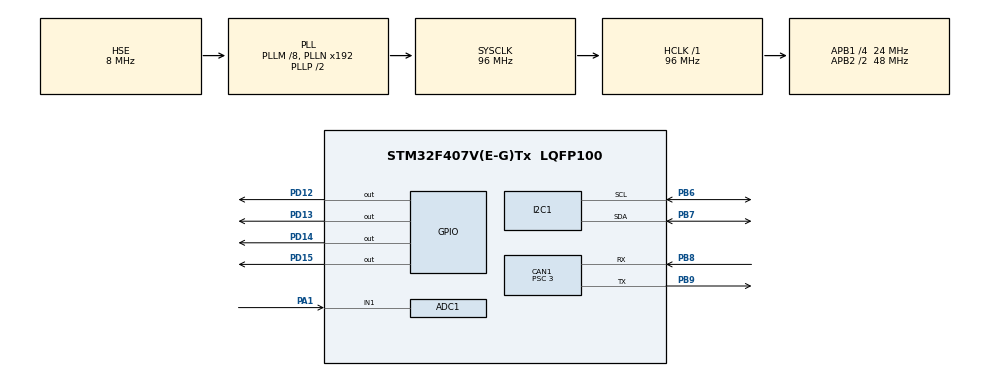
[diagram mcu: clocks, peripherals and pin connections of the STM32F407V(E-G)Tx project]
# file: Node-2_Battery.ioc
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ADC1.Channel-0\#ChannelRegularConversion=ADC_CHANNEL_1
ADC1.NbrOfConversionFlag=1
ADC1.Rank-0\#ChannelRegularConversion=1
ADC1.SamplingTime-0\#ChannelRegularConversion=ADC_SAMPLETIME_3CYCLES
ADC1.master=1
CAN1.BS1=CAN_BS1_13TQ
CAN1.BS2=CAN_BS2_2TQ
CAN1.CalculateBaudRate=500000
CAN1.CalculateTimeBit=2000
CAN1.CalculateTimeQuantum=125.0
CAN1.Prescaler=3
FREERTOS.Mutexes01=batteryDataMutex,Dynamic,NULL,Available
FREERTOS.Queues01=BatterQueue,8,uint16_t,0,Dynamic,NULL,NULL
FREERTOS.Tasks01=defaultTask,-3,128,StartDefaultTask,Default,NULL,Dynamic,NULL,NULL;batteryMonitorT,1,256,StartBatteryMonitorTask,Default,NULL,Dynamic,NULL,NULL;canTask,0,256,StartCANTask,Default,NULL,Dynamic,NULL,NULL
Mcu.Family=STM32F4
Mcu.Name=STM32F407V(E-G)Tx
Mcu.Package=LQFP100
NVIC.I2C1_EV_IRQn=true\:5\:0\:false\:false\:true\:true\:true\:true\:true
NVIC.PriorityGroup=NVIC_PRIORITYGROUP_4
PA1.Signal=ADCx_IN1
PB6.Mode=I2C
PB6.Signal=I2C1_SCL
PB7.Mode=I2C
PB7.Signal=I2C1_SDA
PB8.Mode=CAN_Activate
PB8.Signal=CAN1_RX
PB9.Mode=CAN_Activate
PB9.Signal=CAN1_TX
PD12.Signal=GPIO_Output
PD13.Signal=GPIO_Output
PD14.Signal=GPIO_Output
PD15.Signal=GPIO_Output
PH0-OSC_IN.Mode=HSE-External-Oscillator
PH0-OSC_IN.Signal=RCC_OSC_IN
PH1-OSC_OUT.Mode=HSE-External-Oscillator
PH1-OSC_OUT.Signal=RCC_OSC_OUT
ProjectManager.HeapSize=0x200
ProjectManager.StackSize=0x400
ProjectManager.TargetToolchain=STM32CubeIDE
RCC.48MHZClocksFreq_Value=48000000
RCC.AHBFreq_Value=96000000
RCC.APB1CLKDivider=RCC_HCLK_DIV4
RCC.APB1Freq_Value=24000000
RCC.APB1TimFreq_Value=48000000
RCC.APB2CLKDivider=RCC_HCLK_DIV2
RCC.APB2Freq_Value=48000000
RCC.APB2TimFreq_Value=96000000
RCC.CortexFreq_Value=96000000
RCC.HCLKFreq_Value=96000000
RCC.HSE_VALUE=8000000
RCC.HSI_VALUE=16000000
RCC.LSE_VALUE=32768
RCC.PLLM=8
RCC.PLLSourceVirtual=RCC_PLLSOURCE_HSE
RCC.SYSCLKFreq_VALUE=96000000
RCC.SYSCLKSource=RCC_SYSCLKSOURCE_PLLCLK
RCC.VCOOutputFreq_Value=192000000
SH.ADCx_IN1.0=ADC1_IN1,IN1
VP_FREERTOS_VS_CMSIS_V1.Mode=CMSIS_V1
board=custom

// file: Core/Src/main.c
/* USER CODE BEGIN Header */
/* USER CODE END Header */
#include "main.h"
#include "cmsis_os.h"

/* USER CODE BEGIN Includes */
#include <math.h>
#include <string.h>
#include <stdbool.h>
/* USER CODE END Includes */

/* USER CODE BEGIN PTD */
typedef struct {
  uint16_t soc;
  uint16_t soh;
  uint16_t temperature;
  uint16_t voltage;
  uint16_t current;
} BatteryData_t;
/* USER CODE END PTD */

/* USER CODE BEGIN PD */
/* INA219 Definitions */
#define INA219_ADDRESS  (0x40 << 1)  // 7-bit address shifted left
#define INA219_CONFIG   0x00
#define INA219_SHUNT    0x01
#define INA219_BUS      0x02
#define INA219_POWER    0x03
#define INA219_CURRENT  0x04
#define INA219_CAL      0x05

/* Battery Parameters */
#define BATTERY_CAPACITY_mAh  3000.0f
#define FULL_CHARGE_VOLTAGE   12.6f
#define EMPTY_VOLTAGE        9.0f
#define LM35_MV_PER_C        10.0f    // LM35 outputs 10mV per °C
#define VREF                 3.3f     // Reference voltage

/* CAN Parameters */
#define Battery_QUEUE_SIZE  8
#define CAN_TX_MSG_ID        0x124   // CAN message ID for battery data
/* USER CODE END PD */

ADC_HandleTypeDef hadc1;

CAN_HandleTypeDef hcan1;

I2C_HandleTypeDef hi2c1;

osThreadId defaultTaskHandle;
osThreadId batteryMonitorTHandle;
osThreadId canTaskHandle;
osMessageQId BatterQueueHandle;
osMutexId batteryDataMutexHandle;
/* USER CODE BEGIN PV */
/* Global Variables for Debugging (view in Live Expressions) */
volatile float g_voltage = 0;
volatile float g_current = 0;
volatile float g_temperature = 0;
volatile float g_soc = 100.0f;
volatile float g_soh = 100.0f;
volatile float g_remainingCapacity_mAh = BATTERY_CAPACITY_mAh;
volatile float g_totalDischarged_mAh = 0;

/* CAN Variables */
BatteryData_t batteryData;

/* USER CODE END PV */

void SystemClock_Config(void);
static void MX_GPIO_Init(void);
static void MX_I2C1_Init(void);
static void MX_ADC1_Init(void);
static void MX_CAN1_Init(void);
void StartDefaultTask(void const * argument);
void StartBatteryMonitorTask(void const * argument);
void StartCANTask(void const * argument);

/* USER CODE BEGIN PFP */

/* Private function prototypes */
void INA219_Init(void);
void INA219_WriteReg(uint8_t reg, uint16_t value);
uint16_t INA219_ReadReg(uint8_t reg);
float INA219_ReadBusVoltage(void);
float INA219_ReadCurrent(void);
float Read_LM35_Temperature(void);
float Calculate_SOC(float current_mA, float voltage_V);
float VoltageBased_SOC(float voltage_V); //helper function for SOC (on Charging and Discharging
float Calculate_SOH(void);
void Update_Battery_Parameters(void);

/* USER CODE END PFP */

int main(void)
{

  /* MCU Configuration--------------------------------------------------------*/

  /* Reset of all peripherals, Initializes the Flash interface and the Systick. */
  HAL_Init();

  /* Configure the system clock */
  SystemClock_Config();

  /* Initialize all configured peripherals */
  MX_GPIO_Init();
  MX_I2C1_Init();
  MX_ADC1_Init();
  MX_CAN1_Init();
  /* USER CODE BEGIN 2 */

  // Initialize INA219
  INA219_Init();

  // Calibrate ADC with dummy reads
  for(uint8_t i=0; i<5; i++) {
    HAL_ADC_Start(&hadc1);
    HAL_ADC_PollForConversion(&hadc1, 10);
    HAL_ADC_GetValue(&hadc1);
    HAL_Delay(10);
  }
  // Initialize CAN filter (accept all messages)
  CAN_FilterTypeDef can_filter = {
      .FilterBank = 0,
      .FilterMode = CAN_FILTERMODE_IDMASK,
      .FilterScale = CAN_FILTERSCALE_32BIT,
      .FilterIdHigh = 0x0000,
      .FilterIdLow = 0x0000,
      .FilterMaskIdHigh = 0x0000,
      .FilterMaskIdLow = 0x0000,
      .FilterFIFOAssignment = CAN_RX_FIFO0,
      .FilterActivation = ENABLE,
      .SlaveStartFilterBank = 14
  };
  HAL_CAN_ConfigFilter(&hcan1, &can_filter);

  // Start CAN
  HAL_CAN_Start(&hcan1);

  /* USER CODE END 2 */

  /* Create the mutex(es) */
  /* definition and creation of batteryDataMutex */
  osMutexDef(batteryDataMutex);
  batteryDataMutexHandle = osMutexCreate(osMutex(batteryDataMutex));

  /* Create the queue(s) */
  /* definition and creation of BatterQueue */
  osMessageQDef(BatterQueue, 8, uint16_t);
  BatterQueueHandle = osMessageCreate(osMessageQ(BatterQueue), NULL);

  /* Create the thread(s) */
  /* definition and creation of defaultTask */
  osThreadDef(defaultTask, StartDefaultTask, osPriorityIdle, 0, 128);
  defaultTaskHandle = osThreadCreate(osThread(defaultTask), NULL);

  /* definition and creation of batteryMonitorT */
  osThreadDef(batteryMonitorT, StartBatteryMonitorTask, osPriorityAboveNormal, 0, 256);
  batteryMonitorTHandle = osThreadCreate(osThread(batteryMonitorT), NULL);

  /* definition and creation of canTask */
  osThreadDef(canTask, StartCANTask, osPriorityNormal, 0, 256);
  canTaskHandle = osThreadCreate(osThread(canTask), NULL);

  /* Start scheduler */
  osKernelStart();

  /* We should never get here as control is now taken by the scheduler */

  /* Infinite loop */

}

void SystemClock_Config(void)
{
  RCC_OscInitTypeDef RCC_OscInitStruct = {0};
  RCC_ClkInitTypeDef RCC_ClkInitStruct = {0};

  /** Configure the main internal regulator output voltage
  */
  __HAL_RCC_PWR_CLK_ENABLE();
  __HAL_PWR_VOLTAGESCALING_CONFIG(PWR_REGULATOR_VOLTAGE_SCALE1);

  /** Initializes the RCC Oscillators according to the specified parameters
  * in the RCC_OscInitTypeDef structure.
  */
  RCC_OscInitStruct.OscillatorType = RCC_OSCILLATORTYPE_HSE;
  RCC_OscInitStruct.HSEState = RCC_HSE_ON;
  RCC_OscInitStruct.PLL.PLLState = RCC_PLL_ON;
  RCC_OscInitStruct.PLL.PLLSource = RCC_PLLSOURCE_HSE;
  RCC_OscInitStruct.PLL.PLLM = 8;
  RCC_OscInitStruct.PLL.PLLN = 192;
  RCC_OscInitStruct.PLL.PLLP = RCC_PLLP_DIV2;
  RCC_OscInitStruct.PLL.PLLQ = 4;
  if (HAL_RCC_OscConfig(&RCC_OscInitStruct) != HAL_OK)
  {
    Error_Handler();
  }

  /** Initializes the CPU, AHB and APB buses clocks
  */
  RCC_ClkInitStruct.ClockType = RCC_CLOCKTYPE_HCLK|RCC_CLOCKTYPE_SYSCLK
                              |RCC_CLOCKTYPE_PCLK1|RCC_CLOCKTYPE_PCLK2;
  RCC_ClkInitStruct.SYSCLKSource = RCC_SYSCLKSOURCE_PLLCLK;
  RCC_ClkInitStruct.AHBCLKDivider = RCC_SYSCLK_DIV1;
  RCC_ClkInitStruct.APB1CLKDivider = RCC_HCLK_DIV4;
  RCC_ClkInitStruct.APB2CLKDivider = RCC_HCLK_DIV2;

  if (HAL_RCC_ClockConfig(&RCC_ClkInitStruct, FLASH_LATENCY_3) != HAL_OK)
  {
    Error_Handler();
  }
}

static void MX_ADC1_Init(void)
{

  ADC_ChannelConfTypeDef sConfig = {0};

  /** Configure the global features of the ADC (Clock, Resolution, Data Alignment and number of conversion)
  */
  hadc1.Instance = ADC1;
  hadc1.Init.ClockPrescaler = ADC_CLOCK_SYNC_PCLK_DIV2;
  hadc1.Init.Resolution = ADC_RESOLUTION_12B;
  hadc1.Init.ScanConvMode = DISABLE;
  hadc1.Init.ContinuousConvMode = DISABLE;
  hadc1.Init.DiscontinuousConvMode = DISABLE;
  hadc1.Init.ExternalTrigConvEdge = ADC_EXTERNALTRIGCONVEDGE_NONE;
  hadc1.Init.ExternalTrigConv = ADC_SOFTWARE_START;
  hadc1.Init.DataAlign = ADC_DATAALIGN_RIGHT;
  hadc1.Init.NbrOfConversion = 1;
  hadc1.Init.DMAContinuousRequests = DISABLE;
  hadc1.Init.EOCSelection = ADC_EOC_SINGLE_CONV;
  if (HAL_ADC_Init(&hadc1) != HAL_OK)
  {
    Error_Handler();
  }

  /** Configure for the selected ADC regular channel its corresponding rank in the sequencer and its sample time.
  */
  sConfig.Channel = ADC_CHANNEL_1;
  sConfig.Rank = 1;
  sConfig.SamplingTime = ADC_SAMPLETIME_3CYCLES;
  if (HAL_ADC_ConfigChannel(&hadc1, &sConfig) != HAL_OK)
  {
    Error_Handler();
  }

}

static void MX_CAN1_Init(void)
{

  hcan1.Instance = CAN1;
  hcan1.Init.Prescaler = 3;
  hcan1.Init.Mode = CAN_MODE_NORMAL;
  hcan1.Init.SyncJumpWidth = CAN_SJW_1TQ;
  hcan1.Init.TimeSeg1 = CAN_BS1_13TQ;
  hcan1.Init.TimeSeg2 = CAN_BS2_2TQ;
  hcan1.Init.TimeTriggeredMode = DISABLE;
  hcan1.Init.AutoBusOff = DISABLE;
  hcan1.Init.AutoWakeUp = DISABLE;
  hcan1.Init.AutoRetransmission = DISABLE;
  hcan1.Init.ReceiveFifoLocked = DISABLE;
  hcan1.Init.TransmitFifoPriority = DISABLE;
  if (HAL_CAN_Init(&hcan1) != HAL_OK)
  {
    Error_Handler();
  }

}

static void MX_I2C1_Init(void)
{

  hi2c1.Instance = I2C1;
  hi2c1.Init.ClockSpeed = 100000;
  hi2c1.Init.DutyCycle = I2C_DUTYCYCLE_2;
  hi2c1.Init.OwnAddress1 = 0;
  hi2c1.Init.AddressingMode = I2C_ADDRESSINGMODE_7BIT;
  hi2c1.Init.DualAddressMode = I2C_DUALADDRESS_DISABLE;
  hi2c1.Init.OwnAddress2 = 0;
  hi2c1.Init.GeneralCallMode = I2C_GENERALCALL_DISABLE;
  hi2c1.Init.NoStretchMode = I2C_NOSTRETCH_DISABLE;
  if (HAL_I2C_Init(&hi2c1) != HAL_OK)
  {
    Error_Handler();
  }

}

static void MX_GPIO_Init(void)
{
  GPIO_InitTypeDef GPIO_InitStruct = {0};
  /* USER CODE BEGIN MX_GPIO_Init_1 */

	// Add in MX_GPIO_Init():
	__HAL_RCC_GPIOA_CLK_ENABLE();
	GPIO_InitStruct.Pin = GPIO_PIN_1;
	GPIO_InitStruct.Mode = GPIO_MODE_ANALOG;
	GPIO_InitStruct.Pull = GPIO_NOPULL;
	HAL_GPIO_Init(GPIOA, &GPIO_InitStruct);

  /* USER CODE END MX_GPIO_Init_1 */

  /* GPIO Ports Clock Enable */
  __HAL_RCC_GPIOH_CLK_ENABLE();
  __HAL_RCC_GPIOA_CLK_ENABLE();
  __HAL_RCC_GPIOD_CLK_ENABLE();
  __HAL_RCC_GPIOB_CLK_ENABLE();

  /*Configure GPIO pin Output Level */
  HAL_GPIO_WritePin(GPIOD, GPIO_PIN_12|GPIO_PIN_13|GPIO_PIN_14|GPIO_PIN_15, GPIO_PIN_RESET);

  /*Configure GPIO pins : PD12 PD13 PD14 PD15 */
  GPIO_InitStruct.Pin = GPIO_PIN_12|GPIO_PIN_13|GPIO_PIN_14|GPIO_PIN_15;
  GPIO_InitStruct.Mode = GPIO_MODE_OUTPUT_PP;
  GPIO_InitStruct.Pull = GPIO_NOPULL;
  GPIO_InitStruct.Speed = GPIO_SPEED_FREQ_LOW;
  HAL_GPIO_Init(GPIOD, &GPIO_InitStruct);

}

/* USER CODE BEGIN 4 */
void Update_Battery_Parameters(void) {
	 // Read voltage with validation
	    float measured_voltage = INA219_ReadBusVoltage();
	    if (measured_voltage < 5.0f || measured_voltage > 15.0f) { // Sanity check
	        g_voltage = 0;
	    } else {
	        g_voltage = measured_voltage;
	    }
  g_current = INA219_ReadCurrent();
  // Read LM35 for battery temperature
  g_temperature = Read_LM35_Temperature();
  // Calculate SOC and SOH
  g_soc = Calculate_SOC(g_current, g_voltage);
  g_soh = Calculate_SOH();

  // Update the battery data structure
  batteryData.soc = g_soc;
  batteryData.soh = g_soh;
  batteryData.temperature = g_temperature;
  batteryData.voltage = g_voltage;
  batteryData.current = g_current;
}
/* INA219 Functions */
void INA219_Init(void) {
  // Reset the INA219
  INA219_WriteReg(INA219_CONFIG, 0x8000);
  HAL_Delay(10);

  // Configure for 32V range, 12-bit ADC
  uint16_t config = 0x399F;
  INA219_WriteReg(INA219_CONFIG, config);

  // Calibration for 3.2A range, 0.1Ω shunt
  float current_LSB = 3.2f / 32768.0f;
  uint16_t cal = (uint16_t)(0.04096f / (current_LSB * 0.1f));
  INA219_WriteReg(INA219_CAL, cal);
}

void INA219_WriteReg(uint8_t reg, uint16_t value) {
  uint8_t data[3] = {reg, (uint8_t)(value >> 8), (uint8_t)(value & 0xFF)};
  HAL_I2C_Master_Transmit(&hi2c1, INA219_ADDRESS, data, 3, HAL_MAX_DELAY);
}

uint16_t INA219_ReadReg(uint8_t reg) {
  uint8_t data[2];
  HAL_I2C_Master_Transmit(&hi2c1, INA219_ADDRESS, &reg, 1, HAL_MAX_DELAY);
  HAL_I2C_Master_Receive(&hi2c1, INA219_ADDRESS, data, 2, HAL_MAX_DELAY);
  return (data[0] << 8) | data[1];
}

float INA219_ReadBusVoltage(void) {
  uint16_t reg = INA219_ReadReg(INA219_BUS);
  return (float)((reg >> 3) * 4) / 1000.0f;  // Convert to volts
}

float INA219_ReadCurrent(void) {
  int16_t reg = (int16_t)INA219_ReadReg(INA219_CURRENT);
  float current = (float)reg * 0.1f;  // 0.1mA per LSB

  // Add deadzone for noise rejection
  if (fabs(current) < 5.0f) return 0.0f;  // Treat <5mA as 0
  return current;
}

/* LM35 Temperature Sensor Function */
float Read_LM35_Temperature(void) {
    #define INVALID_READING_THRESHOLD  5
    #define MIN_VALID_VOLTAGE          0.1f     // ~10°C
    #define MAX_VALID_VOLTAGE          1.5f     // ~150°C
    #define DISCONNECTED_VOLTAGE       0.03f    // <30mV = probably floating input

    static uint8_t invalid_count = 0;
    static float last_valid_temp = 0.0f;

    // Average over 5 samples
    float voltage_sum = 0.0f;
    const uint8_t samples = 5;
    for (uint8_t i = 0; i < samples; i++) {
        HAL_ADC_Start(&hadc1);
        if (HAL_ADC_PollForConversion(&hadc1, 10) == HAL_OK) {
            uint32_t adcValue = HAL_ADC_GetValue(&hadc1);
            float voltage = (adcValue * VREF) / 4095.0f;
            voltage_sum += voltage;
        }
        HAL_Delay(2);
    }

    float avg_voltage = voltage_sum / samples;

    // Disconnected check
    if (avg_voltage < DISCONNECTED_VOLTAGE) {
        invalid_count++;
        if (invalid_count >= INVALID_READING_THRESHOLD) {
            return 0.0f;  // Confirmed disconnected
        }
        return last_valid_temp;
    }

    // Valid voltage range check
    if (avg_voltage >= MIN_VALID_VOLTAGE && avg_voltage <= MAX_VALID_VOLTAGE) {
        invalid_count = 0;
        last_valid_temp = avg_voltage * 100.0f;  // LM35: 10mV/°C
        return last_valid_temp;
    }

    // If out-of-range, keep last value temporarily
    invalid_count++;
    if (invalid_count >= INVALID_READING_THRESHOLD) {
        return 0.0f;
    }
    return last_valid_temp;
}

/* Battery Calculations */
float Calculate_SOC(float current_mA, float voltage_V) {
    static bool initialized = false;
    static uint32_t lastTime = 0;

    if (!initialized || (HAL_GetTick() - lastTime > 3600000)) { // 1-hour timeout
        g_remainingCapacity_mAh = VoltageBased_SOC(voltage_V)/100.0f * BATTERY_CAPACITY_mAh;
        initialized = true;
        lastTime = HAL_GetTick();
        return VoltageBased_SOC(voltage_V);
    }

    // Calculate time difference in hours
    float delta_h = (HAL_GetTick() - lastTime) / 3600000.0f;
    lastTime = HAL_GetTick();

    // Handle charging/discharging
    if (current_mA > 0.1f) { // Discharging (ignore noise < 0.1mA)
        g_remainingCapacity_mAh -= current_mA * delta_h;
        g_totalDischarged_mAh += current_mA * delta_h;
    }
    else if (current_mA < -0.1f) { // Charging (ignore noise > -0.1mA)
        g_remainingCapacity_mAh += fabsf(current_mA) * delta_h;
    }

    // Clamp capacity
    g_remainingCapacity_mAh = fmaxf(0.0f, fminf(g_remainingCapacity_mAh, BATTERY_CAPACITY_mAh));

    // Voltage-based corrections
    if (voltage_V >= FULL_CHARGE_VOLTAGE) {
        g_remainingCapacity_mAh = BATTERY_CAPACITY_mAh;
    }
    else if (voltage_V <= EMPTY_VOLTAGE) {
        g_remainingCapacity_mAh = 0.0f;
    }

    return (g_remainingCapacity_mAh / BATTERY_CAPACITY_mAh) * 100.0f;
}
// Helper: Estimate SOC from voltage (when Coulomb counting is unreliable)
float VoltageBased_SOC(float voltage_V) {
    // More accurate 3S Li-ion voltage curve (adjust per your battery specs)
    if (voltage_V >= 12.6f) return 100.0f;
    if (voltage_V <= 9.0f)  return 0.0f;

    // Piecewise linear approximation
    if (voltage_V >= 12.3f) return 90.0f + (voltage_V - 12.3f) * 33.3f;  // 12.3-12.6V: 90-100%
    if (voltage_V >= 11.8f) return 70.0f + (voltage_V - 11.8f) * 40.0f;  // 11.8-12.3V: 70-90%
    if (voltage_V >= 11.1f) return 30.0f + (voltage_V - 11.1f) * 57.1f;  // 11.1-11.8V: 30-70%
    return (voltage_V - 9.0f) * 14.3f;                                   // 9.0-11.1V: 0-30%
}

float Calculate_SOH(void) {
  return ((BATTERY_CAPACITY_mAh - g_totalDischarged_mAh) / BATTERY_CAPACITY_mAh) * 100.0f;
}

/* USER CODE END 4 */

void StartDefaultTask(void const * argument)
{
  /* USER CODE BEGIN 5 */
	  for(;;)
	  {
	    osDelay(1000);
	  }
  /* USER CODE END 5 */
}

void StartBatteryMonitorTask(void const * argument)
{
  /* USER CODE BEGIN StartBatteryMonitorTask */
	  /* Infinite loop */
	  for(;;)
	  {
	    osMutexWait(batteryDataMutexHandle, osWaitForever);
	    Update_Battery_Parameters();
	    osMutexRelease(batteryDataMutexHandle);
	    osDelay(1000);  // Update every second
	  }
  /* USER CODE END StartBatteryMonitorTask */
}

void StartCANTask(void const * argument)
{
  /* USER CODE BEGIN StartCANTask */
	  BatteryData_t batteryDataToSend;
	    CAN_TxHeaderTypeDef txHeader;
	    uint8_t canData[8];
	    uint32_t txMailbox;

	    // Configure CAN TX header
	    txHeader.StdId = CAN_TX_MSG_ID;       // Use defined message ID
	    txHeader.ExtId = 0;
	    txHeader.RTR = CAN_RTR_DATA;
	    txHeader.IDE = CAN_ID_STD;
	    txHeader.DLC = 8;                     // Using 6 bytes (SOC, SOH, Temp)
	    txHeader.TransmitGlobalTime = DISABLE;

	    for(;;) {
	        // Get the latest battery data (protected by mutex)
	        osMutexWait(batteryDataMutexHandle, osWaitForever);
	        memcpy(&batteryDataToSend, &batteryData, sizeof(BatteryData_t));
	        osMutexRelease(batteryDataMutexHandle);

	        // Prepare CAN message data
	        // Bytes 0-1: SOC (uint16_t, scaled by 100 for 0.01% resolution)
	        uint16_t soc_scaled = (uint16_t)(batteryDataToSend.soc * 100);
	        canData[0] = (soc_scaled >> 8) & 0xFF;
	        canData[1] = soc_scaled & 0xFF;

	        // Bytes 2-3: SOH (uint16_t, scaled by 100 for 0.01% resolution)
	        uint16_t soh_scaled = (uint16_t)(batteryDataToSend.soh * 100);
	        canData[2] = (soh_scaled >> 8) & 0xFF;
	        canData[3] = soh_scaled & 0xFF;

	        // Bytes 4-5: Temperature (uint16_t, scaled by 100 for 0.01°C resolution)
	        uint16_t temp_scaled = (uint16_t)(batteryDataToSend.temperature * 100);
	        canData[4] = (temp_scaled >> 8) & 0xFF;
	        canData[5] = temp_scaled & 0xFF;

	        // Bytes 6-7: FRAME Identifier bytes
	         canData[6] = 0xAA;  // Frame identifier
	         canData[7] = 0x01;  // Frame 1 marker

	        // Send CAN message
	        HAL_StatusTypeDef status = HAL_CAN_AddTxMessage(&hcan1, &txHeader, canData, &txMailbox);

	        /* Frame 2: Voltage and Current (4 bytes) + padding + Frame identifier bytes*/
	        int16_t voltage_scaled = (int16_t)(batteryDataToSend.voltage * 100);  // 0.01V resolution
	        int16_t current_scaled = (int16_t)(batteryDataToSend.current * 1000);   // 1mA resolution

	        canData[0] = (voltage_scaled >> 8) & 0xFF;
	        canData[1] = voltage_scaled & 0xFF;
	        canData[2] = (current_scaled >> 8) & 0xFF;
	        canData[3] = current_scaled & 0xFF;
	        canData[4] = 0x00;  // Padding
	        canData[5] = 0x00;  // Padding
	        canData[6] = 0xAA;  // Frame identifier
	        canData[7] = 0x02;  // Frame 2 marker

	        HAL_CAN_AddTxMessage(&hcan1, &txHeader, canData, &txMailbox);

	        osDelay(100);  // Adjust delay as needed
	        if (status != HAL_OK) {
	            // Optional: Add error handling or retry logic here
	        }
	        else{
	        	HAL_GPIO_TogglePin(GPIOD, GPIO_PIN_12);
	        }

	        // Wait before sending next message (e.g., 100ms)
	        osDelay(100);
	    }
  /* USER CODE END StartCANTask */
}

void Error_Handler(void)
{
}
